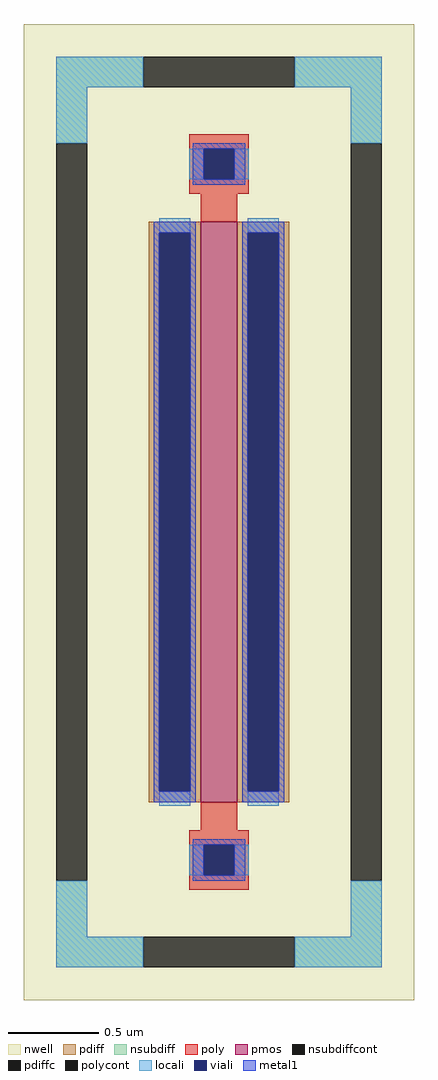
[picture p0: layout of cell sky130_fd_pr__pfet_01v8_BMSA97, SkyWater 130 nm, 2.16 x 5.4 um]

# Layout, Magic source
magic
tech sky130A
magscale 1 2
<< nwell >>
rect -216 -540 216 540
<< pmos >>
rect -20 -321 20 321
<< pdiff >>
rect -78 309 -20 321
rect -78 -309 -66 309
rect -32 -309 -20 309
rect -78 -321 -20 -309
rect 20 309 78 321
rect 20 -309 32 309
rect 66 -309 78 309
rect 20 -321 78 -309
<< pdiffc >>
rect -66 -309 -32 309
rect 32 -309 66 309
<< nsubdiff >>
rect -180 470 -84 504
rect 84 470 180 504
rect -180 408 -146 470
rect 146 408 180 470
rect -180 -470 -146 -408
rect 146 -470 180 -408
rect -180 -504 -84 -470
rect 84 -504 180 -470
<< nsubdiffcont >>
rect -84 470 84 504
rect -180 -408 -146 408
rect 146 -408 180 408
rect -84 -504 84 -470
<< poly >>
rect -33 402 33 418
rect -33 368 -17 402
rect 17 368 33 402
rect -33 352 33 368
rect -20 321 20 352
rect -20 -352 20 -321
rect -33 -368 33 -352
rect -33 -402 -17 -368
rect 17 -402 33 -368
rect -33 -418 33 -402
<< polycont >>
rect -17 368 17 402
rect -17 -402 17 -368
<< locali >>
rect -180 470 -84 504
rect 84 470 180 504
rect -180 408 -146 470
rect 146 408 180 470
rect -33 368 -17 402
rect 17 368 33 402
rect -66 309 -32 325
rect -66 -325 -32 -309
rect 32 309 66 325
rect 32 -325 66 -309
rect -33 -402 -17 -368
rect 17 -402 33 -368
rect -180 -470 -146 -408
rect 146 -470 180 -408
rect -180 -504 -84 -470
rect 84 -504 180 -470
<< viali >>
rect -17 368 17 402
rect -66 -309 -32 309
rect 32 -309 66 309
rect -17 -402 17 -368
<< metal1 >>
rect -29 402 29 408
rect -29 368 -17 402
rect 17 368 29 402
rect -29 362 29 368
rect -72 309 -26 321
rect -72 -309 -66 309
rect -32 -309 -26 309
rect -72 -321 -26 -309
rect 26 309 72 321
rect 26 -309 32 309
rect 66 -309 72 309
rect 26 -321 72 -309
rect -29 -368 29 -362
rect -29 -402 -17 -368
rect 17 -402 29 -368
rect -29 -408 29 -402
<< properties >>
string FIXED_BBOX -163 -487 163 487
string gencell sky130_fd_pr__pfet_01v8
string library sky130
string parameters w 3.21 l 0.2 m 1 nf 1 diffcov 100 polycov 100 guard 1 glc 1 grc 1 gtc 1 gbc 1 tbcov 100 rlcov 100 topc 1 botc 1 poverlap 0 doverlap 1 lmin 0.15 wmin 0.42 compatible {sky130_fd_pr__pfet_01v8  sky130_fd_pr__pfet_01v8_lvt sky130_fd_pr__pfet_01v8_hvt  sky130_fd_pr__pfet_g5v0d10v5} full_metal 1 viasrc 100 viadrn 100 viagate 100 viagb 0 viagr 0 viagl 0 viagt 0
<< end >>
